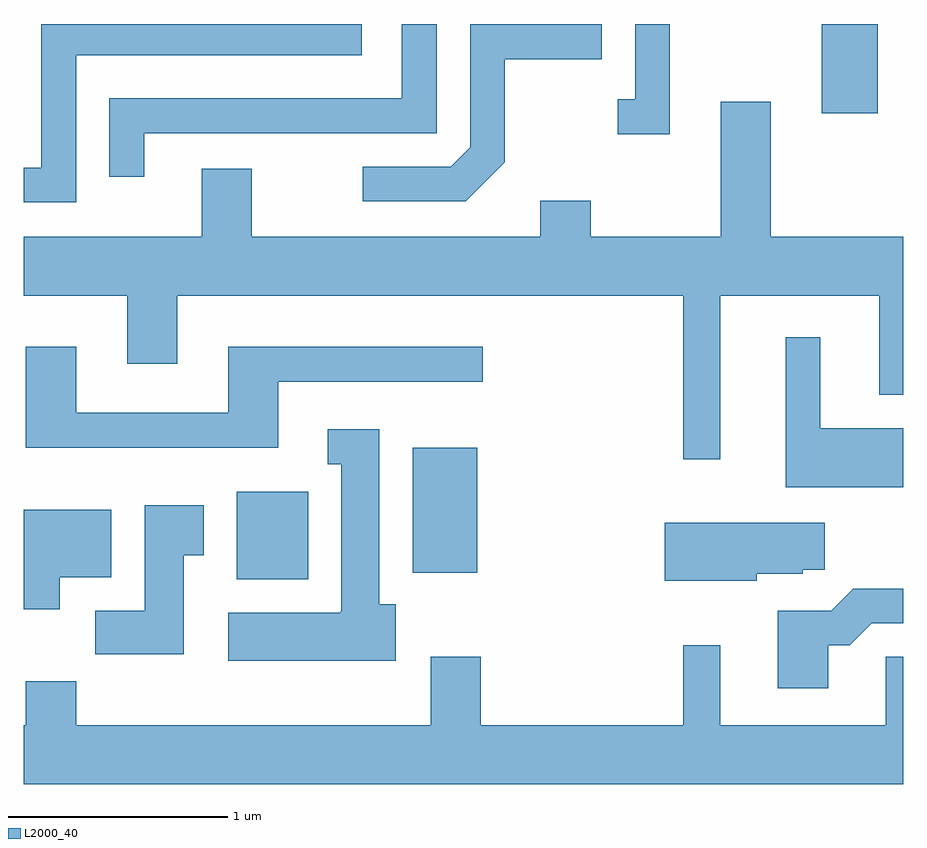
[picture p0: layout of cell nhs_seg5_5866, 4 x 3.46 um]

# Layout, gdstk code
import gdstk
lib = gdstk.Library(unit=1e-6, precision=1e-09)
def R(c, l, rs):  # rectangles x0, y0, x1, y1
    for r in rs: c.add(gdstk.rectangle(r[:2], r[2:], *l))
def P(c, l, *ps):  # polygons
    for p in ps: c.add(gdstk.Polygon(p, *l))
L2000_40 = (2000, 40)

nhs_seg5_5866 = lib.new_cell('nhs_seg5_5866')
R(nhs_seg5_5866, L2000_40, [(360.581,1415.546,360.904,1415.944), (361.381,1415.576,361.674,1416.144), (363.241,1417.666,363.494,1418.072)])
P(nhs_seg5_5866, L2000_40, [(361.799,1417.444),(361.799,1417.911),(362.239,1417.911),(362.239,1418.072),(361.641,1418.072),(361.641,1417.512),(361.554,1417.424),(361.153,1417.424),(361.153,1417.266),(361.622,1417.266)],
  [(359.849,1417.931),(361.149,1417.931),(361.149,1418.072),(359.691,1418.072),(359.691,1417.419),(359.611,1417.419),(359.611,1417.261),(359.849,1417.261)],
  [(362.549,1418.072),(362.391,1418.072),(362.391,1417.729),(362.313,1417.729),(362.313,1417.571),(362.549,1417.571)],
  [(360.159,1417.576),(361.489,1417.576),(361.489,1418.072),(361.331,1418.072),(361.331,1417.734),(360.001,1417.734),(360.001,1417.378),(360.159,1417.378)],
  [(362.779,1416.836),(363.501,1416.836),(363.501,1416.386),(363.611,1416.386),(363.611,1417.104),(363.009,1417.104),(363.009,1417.719),(362.781,1417.719),(362.781,1417.104),(362.189,1417.104),(362.189,1417.269),(361.961,1417.269),(361.961,1417.104),(360.649,1417.104),(360.649,1417.414),(360.421,1417.414),(360.421,1417.104),(359.611,1417.104),(359.611,1416.836),(360.081,1416.836),(360.081,1416.526),(360.309,1416.526),(360.309,1416.836),(362.611,1416.836),(362.611,1416.093),(362.779,1416.093)],
  [(363.611,1416.234),(363.234,1416.234),(363.234,1416.648),(363.076,1416.648),(363.076,1415.966),(363.611,1415.966)],
  [(360.769,1416.446),(361.698,1416.446),(361.698,1416.604),(360.541,1416.604),(360.541,1416.304),(359.849,1416.304),(359.849,1416.604),(359.621,1416.604),(359.621,1416.146),(360.769,1416.146)],
  [(361.304,1415.434),(361.229,1415.434),(361.229,1416.229),(360.993,1416.229),(360.993,1416.071),(361.056,1416.071),(361.056,1415.4),(361.05,1415.4),(361.05,1415.394),(360.541,1415.394),(360.541,1415.176),(361.304,1415.176)],
  [(360.339,1415.656),(360.429,1415.656),(360.429,1415.884),(360.161,1415.884),(360.161,1415.404),(359.936,1415.404),(359.936,1415.206),(360.339,1415.206)],
  [(359.774,1415.556),(360.009,1415.556),(360.009,1415.864),(359.611,1415.864),(359.611,1415.411),(359.774,1415.411)],
  [(362.944,1415.571),(363.154,1415.571),(363.154,1415.591),(363.254,1415.591),(363.254,1415.804),(362.526,1415.804),(362.526,1415.541),(362.944,1415.541)],
  [(363.269,1415.246),(363.367,1415.246),(363.467,1415.346),(363.611,1415.346),(363.611,1415.504),(363.384,1415.504),(363.284,1415.404),(363.041,1415.404),(363.041,1415.051),(363.269,1415.051)],
  [(363.611,1415.194),(363.531,1415.194),(363.531,1414.884),(362.779,1414.884),(362.779,1415.248),(362.611,1415.248),(362.611,1414.884),(361.689,1414.884),(361.689,1415.194),(361.461,1415.194),(361.461,1414.884),(359.849,1414.884),(359.849,1415.084),(359.621,1415.084),(359.621,1414.884),(359.611,1414.884),(359.611,1414.616),(363.611,1414.616)])

lib.write_gds('nhs_seg5_5866.gds')
